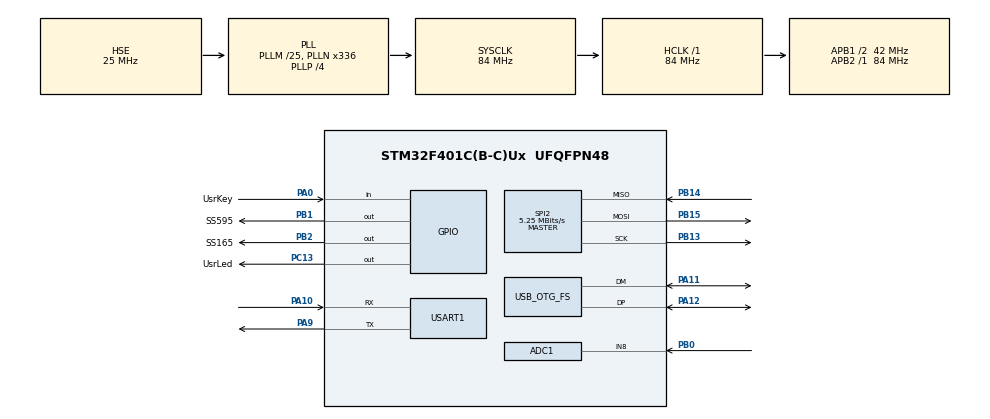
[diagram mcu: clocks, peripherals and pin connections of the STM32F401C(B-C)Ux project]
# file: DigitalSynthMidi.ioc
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Mcu.Family=STM32F4
Dma.SPI2_TX.2.PeriphInc=DMA_PINC_DISABLE
Dma.SPI2_TX.2.MemInc=DMA_MINC_ENABLE
Dma.USART1_TX.5.MemInc=DMA_MINC_ENABLE
USB_DEVICE.CLASS_NAME_FS=CDC
Dma.SPI2_RX.1.MemDataAlignment=DMA_MDATAALIGN_BYTE
Dma.USART1_TX.5.FIFOMode=DMA_FIFOMODE_DISABLE
RCC.CortexFreq_Value=84000000
SPI2.VirtualType=VM_MASTER
Dma.USART1_TX.5.Priority=DMA_PRIORITY_MEDIUM
VP_RTC_VS_RTC_Activate.Mode=RTC_Enabled
PA11.Mode=Device_Only
Dma.SPI2_RX.1.Mode=DMA_NORMAL
Dma.ADC1.3.PeriphDataAlignment=DMA_PDATAALIGN_HALFWORD
NVIC.DMA1_Stream4_IRQn=true\:5\:0\:false\:false\:true\:true\:false\:true
PB13.Signal=SPI2_SCK
PB15.Signal=SPI2_MOSI
Dma.SPI2_RX.1.Direction=DMA_PERIPH_TO_MEMORY
RCC.SYSCLKSource=RCC_SYSCLKSOURCE_PLLCLK
ProjectManager.StackSize=0x400
VP_FREERTOS_VS_CMSIS_V2.Mode=CMSIS_V2
Dma.USART1_TX.5.PeriphInc=DMA_PINC_DISABLE
Dma.SPI2_RX.1.PeriphDataAlignment=DMA_PDATAALIGN_BYTE
Dma.ADC1.3.MemInc=DMA_MINC_ENABLE
NVIC.ADC_IRQn=true\:5\:0\:false\:false\:true\:true\:true\:true
PA12.Signal=USB_OTG_FS_DP
PH0\ -\ OSC_IN.Signal=RCC_OSC_IN
RCC.HCLKFreq_Value=84000000
Dma.USART1_RX.4.MemDataAlignment=DMA_MDATAALIGN_BYTE
RCC.APB2TimFreq_Value=84000000
Dma.ADC1.3.PeriphInc=DMA_PINC_DISABLE
Dma.SPI2_TX.2.PeriphDataAlignment=DMA_PDATAALIGN_BYTE
Dma.USART1_TX.5.Direction=DMA_MEMORY_TO_PERIPH
NVIC.DMA2_Stream0_IRQn=true\:5\:0\:false\:false\:true\:true\:true\:true
Dma.SPI2_TX.2.Instance=DMA1_Stream4
RCC.AHBFreq_Value=84000000
SPI2.BaudRatePrescaler=SPI_BAUDRATEPRESCALER_8
RCC.HSE_VALUE=25000000
PB2.Signal=GPIO_Output
PC13-ANTI_TAMP.Signal=GPIO_Output
Dma.ADC1.3.Instance=DMA2_Stream4
ADC1.SamplingTime-4\#ChannelRegularConversion=ADC_SAMPLETIME_3CYCLES
Dma.USART1_RX.4.Instance=DMA2_Stream2
Dma.SPI2_RX.1.FIFOMode=DMA_FIFOMODE_DISABLE
PC14-OSC32_IN.Mode=LSE-External-Oscillator
Dma.USART1_TX.5.Mode=DMA_NORMAL
Dma.ADC1.3.Mode=DMA_CIRCULAR
PB14.Mode=Full_Duplex_Master
VP_SYS_VS_tim1.Mode=TIM1
Dma.MEMTOMEM.0.Instance=DMA2_Stream0
PB1.GPIO_Label=SS595
SH.ADCx_IN8.0=ADC1_IN8,IN8
SPI2.CalculateBaudRate=5.25 MBits/s
NVIC.SPI2_IRQn=true\:5\:0\:false\:false\:true\:true\:true\:true
Dma.SPI2_TX.2.MemDataAlignment=DMA_MDATAALIGN_BYTE
Mcu.Package=UFQFPN48
PB1.Signal=GPIO_Output
NVIC.DMA2_Stream7_IRQn=true\:5\:0\:false\:false\:true\:true\:false\:true
NVIC.TimeBase=TIM1_UP_TIM10_IRQn
SPI2.Mode=SPI_MODE_MASTER
Dma.SPI2_TX.2.Priority=DMA_PRIORITY_MEDIUM
Dma.USART1_RX.4.Direction=DMA_PERIPH_TO_MEMORY
RCC.EnbaleCSS=true
Dma.MEMTOMEM.0.PeriphInc=DMA_PINC_ENABLE
NVIC.OTG_FS_IRQn=true\:5\:0\:false\:false\:true\:true\:true\:true
Dma.SPI2_TX.2.Mode=DMA_NORMAL
NVIC.TimeBaseIP=TIM1
PA10.Signal=USART1_RX
USB_OTG_FS.VirtualMode=Device_Only
Dma.MEMTOMEM.0.FIFOThreshold=DMA_FIFO_THRESHOLD_FULL
Dma.SPI2_RX.1.Instance=DMA1_Stream3
NVIC.DMA2_Stream2_IRQn=true\:5\:0\:false\:false\:true\:true\:false\:true
Dma.Request2=SPI2_TX
Dma.Request1=SPI2_RX
RCC.APB1TimFreq_Value=84000000
Dma.Request4=USART1_RX
Dma.Request3=ADC1
Dma.Request5=USART1_TX
SPI2.Direction=SPI_DIRECTION_2LINES
PB13.Mode=Full_Duplex_Master
NVIC.USART1_IRQn=true\:5\:0\:false\:false\:true\:true\:true\:true
Dma.Request0=MEMTOMEM
ADC1.Rank-4\#ChannelRegularConversion=1
PC15-OSC32_OUT.Mode=LSE-External-Oscillator
Dma.MEMTOMEM.0.MemDataAlignment=DMA_MDATAALIGN_BYTE
FREERTOS.Tasks01=defaultTask,24,128,StartDefaultTask,Default,NULL,Dynamic,NULL,NULL
ADC1.Channel-4\#ChannelRegularConversion=ADC_CHANNEL_8
PA10.Mode=Asynchronous
Dma.MEMTOMEM.0.Priority=DMA_PRIORITY_HIGH
USB_DEVICE.VirtualModeFS=Cdc_FS
PC13-ANTI_TAMP.GPIO_Label=UsrLed
Dma.ADC1.3.Priority=DMA_PRIORITY_MEDIUM
PH1\ -\ OSC_OUT.Mode=HSE-External-Oscillator
Dma.USART1_RX.4.Priority=DMA_PRIORITY_MEDIUM
Dma.USART1_TX.5.MemDataAlignment=DMA_MDATAALIGN_BYTE
Dma.USART1_RX.4.Mode=DMA_NORMAL
RCC.APB1CLKDivider=RCC_HCLK_DIV2
PC14-OSC32_IN.Signal=RCC_OSC32_IN
Dma.ADC1.3.FIFOMode=DMA_FIFOMODE_DISABLE
Dma.USART1_RX.4.FIFOMode=DMA_FIFOMODE_DISABLE
PA0-WKUP.GPIO_Label=UsrKey
PA0-WKUP.Signal=GPIO_Input
PA9.Mode=Asynchronous
PH0\ -\ OSC_IN.Mode=HSE-External-Oscillator
Dma.USART1_TX.5.PeriphDataAlignment=DMA_PDATAALIGN_BYTE
ProjectManager.TargetToolchain=STM32CubeIDE
Dma.SPI2_TX.2.Direction=DMA_MEMORY_TO_PERIPH
VP_USB_DEVICE_VS_USB_DEVICE_CDC_FS.Mode=CDC_FS
Dma.SPI2_TX.2.FIFOMode=DMA_FIFOMODE_DISABLE
PA9.Signal=USART1_TX
Dma.MEMTOMEM.0.FIFOMode=DMA_FIFOMODE_ENABLE
PC15-OSC32_OUT.Signal=RCC_OSC32_OUT
Dma.MEMTOMEM.0.MemBurst=DMA_MBURST_SINGLE
PB14.Signal=SPI2_MISO
Dma.ADC1.3.MemDataAlignment=DMA_MDATAALIGN_HALFWORD
Dma.ADC1.3.Direction=DMA_PERIPH_TO_MEMORY
PH1\ -\ OSC_OUT.Signal=RCC_OSC_OUT
board=custom
RCC.VCOOutputFreq_Value=336000000
PB15.Mode=Full_Duplex_Master
RCC.APB2Freq_Value=84000000
Dma.SPI2_RX.1.Priority=DMA_PRIORITY_MEDIUM
Dma.USART1_RX.4.PeriphDataAlignment=DMA_PDATAALIGN_BYTE
Mcu.Name=STM32F401C(B-C)Ux
Dma.SPI2_RX.1.PeriphInc=DMA_PINC_DISABLE
NVIC.DMA2_Stream4_IRQn=true\:5\:0\:false\:false\:true\:true\:false\:true
Dma.MEMTOMEM.0.PeriphDataAlignment=DMA_PDATAALIGN_BYTE
RCC.48MHZClocksFreq_Value=48000000
RCC.SYSCLKFreq_VALUE=84000000
ADC1.master=1
PA12.Mode=Device_Only
Dma.MEMTOMEM.0.Mode=DMA_NORMAL
Dma.MEMTOMEM.0.PeriphBurst=DMA_PBURST_SINGLE
Dma.MEMTOMEM.0.MemInc=DMA_MINC_ENABLE
USART1.VirtualMode=VM_ASYNC
PA11.Signal=USB_OTG_FS_DM
Dma.USART1_RX.4.MemInc=DMA_MINC_ENABLE
PB2.GPIO_Label=SS165
ProjectManager.HeapSize=0x200
NVIC.TIM1_UP_TIM10_IRQn=true\:0\:0\:false\:false\:true\:false\:false\:true
RCC.HSI_VALUE=16000000
RCC.PLLP=RCC_PLLP_DIV4
RCC.PLLQ=7
NVIC.PriorityGroup=NVIC_PRIORITYGROUP_4
ADC1.NbrOfConversionFlag=1
RCC.PLLM=25
RCC.PLLN=336
Dma.MEMTOMEM.0.Direction=DMA_MEMORY_TO_MEMORY
Dma.USART1_TX.5.Instance=DMA2_Stream7
NVIC.DMA1_Stream3_IRQn=true\:5\:0\:false\:false\:true\:true\:false\:true
Dma.USART1_RX.4.PeriphInc=DMA_PINC_DISABLE
RCC.APB1Freq_Value=42000000
PB0.Signal=ADCx_IN8
USB_DEVICE.VirtualMode=Cdc
Dma.SPI2_RX.1.MemInc=DMA_MINC_ENABLE

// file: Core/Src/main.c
/* USER CODE BEGIN Header */
/**
 ******************************************************************************
 * @file           : main.c
 * @brief          : Main program body
 ******************************************************************************
 * @attention
 *
 * <h2><center>&copy; Copyright (c) 2021 STMicroelectronics.
 * All rights reserved.</center></h2>
 *
 * This software component is licensed by ST under BSD 3-Clause license,
 * the "License"; You may not use this file except in compliance with the
 * License. You may obtain a copy of the License at:
 *                        opensource.org/licenses/BSD-3-Clause
 *
 ******************************************************************************
 */
/* USER CODE END Header */
#include "main.h"
#include "cmsis_os.h"
#include "adc.h"
#include "dma.h"
#include "rtc.h"
#include "spi.h"
#include "usart.h"
#include "usb_device.h"
#include "gpio.h"
#include "usbd_cdc_if.h"

/* USER CODE BEGIN PV */
uint8_t buffer_size = 100;
uint8_t buffer[];
/* USER CODE END PV */

void SystemClock_Config(void);
void MX_FREERTOS_Init(void);
void MX_USB_DEVICE_Init(int);
void StartDefaultTask(void);
extern void StartKeyboardTask(void);
//extern void StartControllerTask(void);

int main(void) {

	/* MCU Configuration--------------------------------------------------------*/

	/* Reset of all peripherals, Initializes the Flash interface and the Systick. */
	HAL_Init();

	/* Configure the system clock */
	SystemClock_Config();

	/* Initialize all configured peripherals */
	MX_GPIO_Init();
	MX_DMA_Init();
	MX_ADC1_Init();
	MX_RTC_Init();
	MX_SPI2_Init();
	MX_USART1_UART_Init();

	if (HAL_GPIO_ReadPin(UsrKey_Port, UsrKey_Pin) == GPIO_PIN_SET) {
		MX_USB_DEVICE_Init(1);
	} else {
		MX_USB_DEVICE_Init(0);
	}

	/* Init scheduler */
	osKernelInitialize(); /* Call init function for freertos objects (in freertos.c) */
	MX_FREERTOS_Init();
	/* Start scheduler */
	osKernelStart();

	StartDefaultTask();
	StartKeyboardTask();
	//StartControllerTask();
	/* We should never get here as control is now taken by the scheduler */
	/* Infinite loop */
	while (1) {

	}
}

void SystemClock_Config(void) {
	RCC_OscInitTypeDef RCC_OscInitStruct = { 0 };
	RCC_ClkInitTypeDef RCC_ClkInitStruct = { 0 };
	RCC_PeriphCLKInitTypeDef PeriphClkInitStruct = { 0 };

	/** Configure the main internal regulator output voltage
	 */
	__HAL_RCC_PWR_CLK_ENABLE();
	__HAL_PWR_VOLTAGESCALING_CONFIG(PWR_REGULATOR_VOLTAGE_SCALE2);
	/** Initializes the RCC Oscillators according to the specified parameters
	 * in the RCC_OscInitTypeDef structure.
	 */
	RCC_OscInitStruct.OscillatorType = RCC_OSCILLATORTYPE_LSI
			| RCC_OSCILLATORTYPE_HSE;
	RCC_OscInitStruct.HSEState = RCC_HSE_ON;
	RCC_OscInitStruct.LSIState = RCC_LSI_ON;
	RCC_OscInitStruct.PLL.PLLState = RCC_PLL_ON;
	RCC_OscInitStruct.PLL.PLLSource = RCC_PLLSOURCE_HSE;
	RCC_OscInitStruct.PLL.PLLM = 25;
	RCC_OscInitStruct.PLL.PLLN = 336;
	RCC_OscInitStruct.PLL.PLLP = RCC_PLLP_DIV4;
	RCC_OscInitStruct.PLL.PLLQ = 7;
	if (HAL_RCC_OscConfig(&RCC_OscInitStruct) != HAL_OK) {
		Error_Handler();
	}
	/** Initializes the CPU, AHB and APB buses clocks
	 */
	RCC_ClkInitStruct.ClockType = RCC_CLOCKTYPE_HCLK | RCC_CLOCKTYPE_SYSCLK
			| RCC_CLOCKTYPE_PCLK1 | RCC_CLOCKTYPE_PCLK2;
	RCC_ClkInitStruct.SYSCLKSource = RCC_SYSCLKSOURCE_PLLCLK;
	RCC_ClkInitStruct.AHBCLKDivider = RCC_SYSCLK_DIV1;
	RCC_ClkInitStruct.APB1CLKDivider = RCC_HCLK_DIV2;
	RCC_ClkInitStruct.APB2CLKDivider = RCC_HCLK_DIV1;

	if (HAL_RCC_ClockConfig(&RCC_ClkInitStruct, FLASH_LATENCY_2) != HAL_OK) {
		Error_Handler();
	}
	PeriphClkInitStruct.PeriphClockSelection = RCC_PERIPHCLK_RTC;
	PeriphClkInitStruct.RTCClockSelection = RCC_RTCCLKSOURCE_LSI;
	if (HAL_RCCEx_PeriphCLKConfig(&PeriphClkInitStruct) != HAL_OK) {
		Error_Handler();
	}
	/** Enables the Clock Security System
	 */
	HAL_RCC_EnableCSS();
}

/* USER CODE BEGIN 4 */
void SendCDCData(char *data) {
	/*
	 uint8_t buffer[100];
	 int32_t size;
	 size = sprintf((char*) &buffer, data);
	 CDC_Transmit_FS(buffer, size);
	 */
	/*
	 char buffer[sizeof(data)];
	 memcpy(buffer, &data, sizeof(data));
	 CDC_Transmit_FS((uint8_t*) buffer, sizeof(buffer));
	 */
	CDC_Transmit_FS((uint8_t*) data, strlen(data));
}
/* USER CODE END 4 */

void HAL_TIM_PeriodElapsedCallback(TIM_HandleTypeDef *htim) {
	if (htim->Instance == TIM1) {
		HAL_IncTick();
	}
}

void Error_Handler(void) {
	__disable_irq();
	while (1) {
	}
}

/************************ (C) COPYRIGHT STMicroelectronics *****END OF FILE****/

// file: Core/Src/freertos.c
/* USER CODE BEGIN Header */
/**
 ******************************************************************************
 * File Name          : freertos.c
 * Description        : Code for freertos applications
 ******************************************************************************
 * @attention
 *
 * <h2><center>&copy; Copyright (c) 2021 STMicroelectronics.
 * All rights reserved.</center></h2>
 *
 * This software component is licensed by ST under Ultimate Liberty license
 * SLA0044, the "License"; You may not use this file except in compliance with
 * the License. You may obtain a copy of the License at:
 *                             www.st.com/SLA0044
 *
 ******************************************************************************
 */
/* USER CODE END Header */

#include "FreeRTOS.h"
#include "task.h"
#include "main.h"
#include "cmsis_os.h"
#include "keyboard.h"
#include "controller.h"

/* Definitions for defaultTask */
osThreadId_t defaultTaskHandle;
const osThreadAttr_t defaultTask_attributes = { .name = "defaultTask",
		.priority = (osPriority_t) osPriorityNormal, .stack_size = 128 * 4 };

osThreadId_t KeyboardTaskHandle;
const osThreadAttr_t KeyboardTask_attributes = { .name = "KeyboardTask",
		.priority = (osPriority_t) osPriorityNormal, .stack_size = 128 * 4 };

osThreadId_t ControllerTaskHandle;
const osThreadAttr_t ControllerTask_attributes = { .name = "ControllerTask",
		.priority = (osPriority_t) osPriorityNormal, .stack_size = 128 * 4 };

void StartDefaultTask(void *argument);
extern void StartKeyboardTask(void *argument);
extern void StartControllerTask(void *argument);

void MX_FREERTOS_Init(void); /* (MISRA C 2004 rule 8.1) */

void MX_FREERTOS_Init(void) {

	/* Create the thread(s) */
	/* creation of defaultTask */
	defaultTaskHandle = osThreadNew(StartDefaultTask, NULL,
			&defaultTask_attributes);

	KeyboardTaskHandle  = osThreadNew(StartKeyboardTask, NULL,
	 &KeyboardTask_attributes);

	 //ControllerTaskHandle = osThreadNew(StartControllerTask, NULL,
	// &ControllerTask_attributes);

}

void StartDefaultTask(void *argument) {
	/* USER CODE BEGIN StartDefaultTask */
	/* Infinite loop */

	uint32_t Tick1 = osKernelGetTickCount();
	static uint8_t pwmset;
	static uint16_t time;
	static uint8_t timeflag;
	static uint8_t timecount;

	for (;;) {
		if ((osKernelGetTickCount() - Tick1 >= 1)) {
			Tick1 = osKernelGetTickCount();

			if (breathsw == 1) {
				/* Breathing Lamp */
				if (timeflag == 0) {
					time++;
					if (time >= 1200)
						timeflag = 1;
				} else {
					time--;
					if (time <= 2)
						timeflag = 0;
				}
				/* Duty Cycle Setting */
				if (time >= 600) {
					pwmset = time / 120;
				} else {
					pwmset = time / 30;
				}
				/* 20ms Pulse Width */
				if (timecount > 1)
					timecount = 0;
				else
					timecount++;

				if (timecount >= pwmset)
					HAL_GPIO_WritePin(UsrLed_Port, UsrLed_Pin, GPIO_PIN_RESET);
				else
					HAL_GPIO_WritePin(UsrLed_Port, UsrLed_Pin, GPIO_PIN_SET);
			}
		}

	}
	/* USER CODE END StartDefaultTask */
}

/************************ (C) COPYRIGHT STMicroelectronics *****END OF FILE****/
